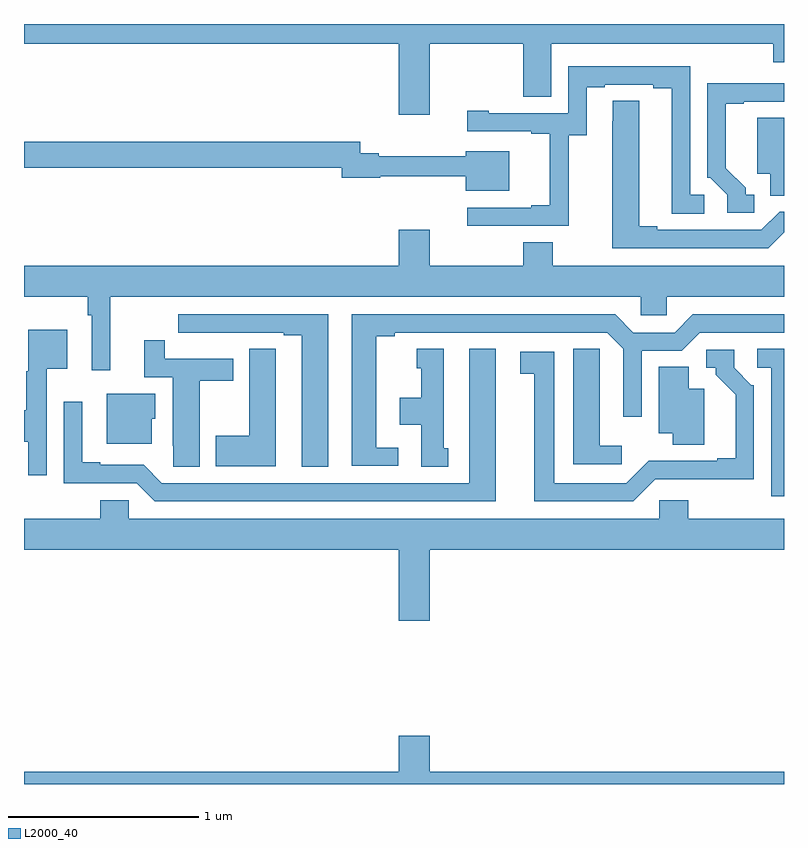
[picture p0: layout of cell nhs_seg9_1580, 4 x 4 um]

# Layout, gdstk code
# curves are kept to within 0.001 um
import gdstk
lib = gdstk.Library(unit=1e-6, precision=1e-09)
def P(c, l, *ps):  # polygons
    for p in ps: c.add(gdstk.Polygon(p, *l))
L2000_40 = (2000, 40)

nhs_seg9_1580 = lib.new_cell('nhs_seg9_1580')
P(nhs_seg9_1580, L2000_40, [(201.136,1220.396),(201.628,1220.396),(201.628,1220.116),(201.775,1220.116),(201.775,1220.396),(202.943,1220.396),(202.943,1220.298),(203,1220.298),(203,1220.5),(199,1220.5),(199,1220.396),(200.972,1220.396),(200.972,1220.022),(201.136,1220.022)],
  [(201.867,1219.915),(201.961,1219.915),(201.961,1220.166),(202.057,1220.166),(202.057,1220.181),(202.313,1220.181),(202.313,1220.161),(202.409,1220.161),(202.409,1219.501),(202.579,1219.501),(202.579,1219.602),(202.506,1219.602),(202.506,1220.277),(201.864,1220.277),(201.864,1220.031),(201.445,1220.031),(201.445,1220.044),(201.333,1220.044),(201.333,1219.935),(201.671,1219.935),(201.671,1219.923),(201.767,1219.923),(201.767,1219.546),(201.671,1219.546),(201.671,1219.533),(201.333,1219.533),(201.333,1219.437),(201.867,1219.437)],
  [(202.843,1219.602),(202.798,1219.602),(202.798,1219.637),(202.693,1219.742),(202.693,1220.079),(202.789,1220.079),(202.789,1220.091),(203,1220.091),(203,1220.187),(202.859,1220.187),(202.859,1220.189),(202.596,1220.189),(202.596,1219.692),(202.611,1219.692),(202.701,1219.602),(202.701,1219.506),(202.843,1219.506)],
  [(203,1219.403),(203,1219.512),(202.977,1219.512),(202.881,1219.416),(202.333,1219.416),(202.333,1219.436),(202.237,1219.436),(202.237,1220.096),(202.098,1220.096),(202.097,1219.32),(202.917,1219.32)],
  [(203,1220.006),(202.859,1220.006),(202.859,1219.712),(202.928,1219.712),(202.928,1219.597),(203,1219.597)],
  [(201.553,1219.831),(201.326,1219.831),(201.326,1219.803),(200.866,1219.803),(200.866,1219.82),(200.769,1219.82),(200.769,1219.88),(199,1219.88),(199,1219.744),(200.673,1219.744),(200.673,1219.692),(200.876,1219.692),(200.876,1219.699),(201.326,1219.699),(201.326,1219.622),(201.553,1219.622)],
  [(199.454,1219.064),(202.245,1219.064),(202.245,1218.966),(202.383,1218.966),(202.383,1219.064),(203,1219.064),(203,1219.228),(201.783,1219.228),(201.783,1219.352),(201.628,1219.352),(201.628,1219.228),(201.136,1219.228),(201.136,1219.417),(200.972,1219.417),(200.972,1219.228),(199,1219.228),(199,1219.064),(199.336,1219.064),(199.336,1218.968),(199.356,1218.968),(199.356,1218.678),(199.454,1218.678)],
  [(200.971,1218.27),(200.854,1218.27),(200.854,1218.856),(200.95,1218.856),(200.95,1218.876),(202.071,1218.876),(202.155,1218.792),(202.155,1218.432),(202.251,1218.432),(202.251,1218.78),(202.461,1218.78),(202.557,1218.876),(203,1218.876),(203,1218.972),(202.521,1218.972),(202.425,1218.876),(202.207,1218.876),(202.111,1218.972),(200.726,1218.972),(200.726,1218.174),(200.971,1218.174)],
  [(200.602,1218.972),(199.812,1218.972),(199.812,1218.876),(199.924,1218.876),(199.924,1218.875),(200.09,1218.875),(200.09,1218.876),(200.366,1218.876),(200.366,1218.861),(200.462,1218.861),(200.462,1218.169),(200.602,1218.169)],
  [(199.119,1218.686),(199.228,1218.686),(199.228,1218.892),(199.022,1218.892),(199.022,1218.672),(199.011,1218.672),(199.011,1218.468),(199,1218.468),(199,1218.302),(199.022,1218.302),(199.022,1218.126),(199.119,1218.126)],
  [(199.924,1218.622),(200.101,1218.622),(200.101,1218.738),(199.742,1218.738),(199.742,1218.835),(199.634,1218.835),(199.634,1218.642),(199.784,1218.642),(199.784,1218.28),(199.785,1218.28),(199.785,1218.169),(199.924,1218.169)],
  [(202.147,1218.28),(202.03,1218.28),(202.03,1218.683),(202.029,1218.683),(202.029,1218.791),(201.89,1218.791),(201.89,1218.183),(202.147,1218.183)],
  [(203,1218.791),(202.86,1218.791),(202.86,1218.69),(202.932,1218.69),(202.932,1218.015),(203,1218.015)],
  [(200.326,1218.683),(200.325,1218.683),(200.325,1218.791),(200.186,1218.791),(200.186,1218.333),(200.009,1218.333),(200.009,1218.173),(200.326,1218.173)],
  [(201.232,1218.267),(201.208,1218.267),(201.208,1218.79),(201.068,1218.79),(201.068,1218.687),(201.092,1218.687),(201.092,1218.532),(200.978,1218.532),(200.978,1218.392),(201.092,1218.392),(201.092,1218.169),(201.232,1218.169)],
  [(201.484,1218.79),(201.344,1218.79),(201.344,1218.084),(199.725,1218.084),(199.629,1218.18),(199.402,1218.18),(199.402,1218.193),(199.306,1218.193),(199.306,1218.511),(199.209,1218.511),(199.209,1218.084),(199.593,1218.084),(199.689,1217.988),(201.484,1217.988)],
  [(202.323,1218.105),(202.842,1218.104),(202.842,1218.6),(202.827,1218.6),(202.737,1218.69),(202.737,1218.786),(202.59,1218.786),(202.59,1218.69),(202.64,1218.69),(202.64,1218.655),(202.745,1218.55),(202.745,1218.214),(202.649,1218.214),(202.649,1218.201),(202.288,1218.202),(202.17,1218.084),(201.79,1218.084),(201.79,1218.774),(201.612,1218.774),(201.612,1218.658),(201.686,1218.658),(201.686,1217.988),(202.206,1217.988)],
  [(202.579,1218.58),(202.498,1218.58),(202.498,1218.695),(202.34,1218.695),(202.34,1218.347),(202.415,1218.347),(202.415,1218.286),(202.579,1218.286)],
  [(199.672,1218.423),(199.69,1218.423),(199.69,1218.553),(199.436,1218.553),(199.436,1218.29),(199.672,1218.29)],
  [(203,1217.896),(202.496,1217.896),(202.496,1217.994),(202.344,1217.994),(202.344,1217.896),(199.551,1217.896),(199.551,1217.994),(199.4,1217.994),(199.4,1217.896),(199,1217.896),(199,1217.732),(200.972,1217.732),(200.972,1217.358),(201.136,1217.358),(201.136,1217.732),(203,1217.732)],
  [(199,1216.5),(203,1216.5),(203,1216.564),(201.136,1216.564),(201.136,1216.753),(200.972,1216.753),(200.972,1216.564),(199,1216.564)])

lib.write_gds('nhs_seg9_1580.gds')
